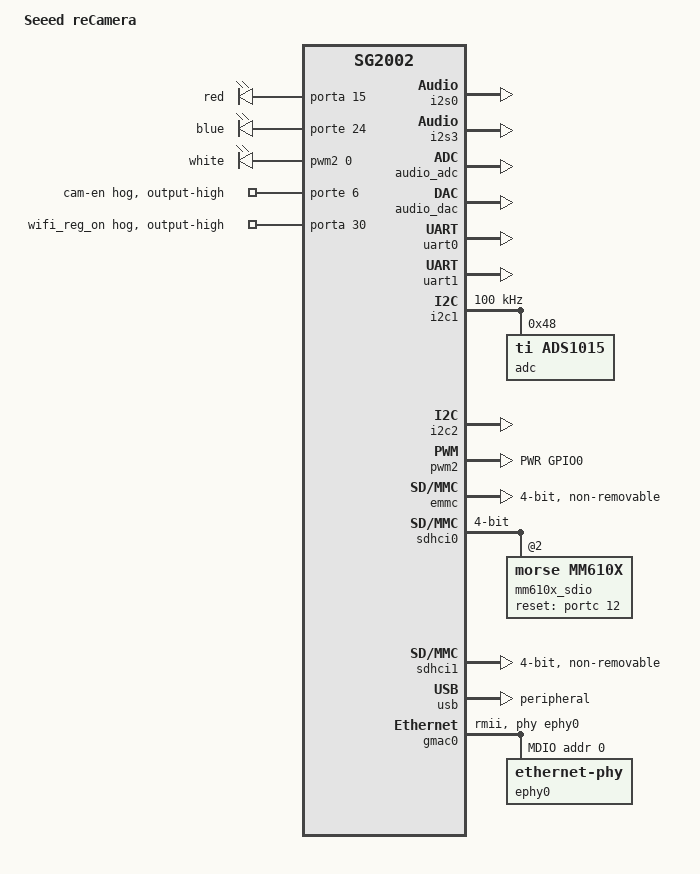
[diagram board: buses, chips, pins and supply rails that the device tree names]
// SPDX-License-Identifier: (GPL-2.0 OR MIT)
/*
 * Seeed reCamera (Sophgo SG2002 / CV181x), project device tree.
 *
 * The hardware is transposed from the vendor board tree for this exact board,
 * vendor/reCamera-OS/external/build/boards/cv181x/sg2002_recamera_emmc/dts_riscv/
 * sg2002_recamera_emmc.dts (Cvitek kernel 5.10), into the labels the mainline
 * 7.2 offers: emmc, sdhci0 (SD slot), sdhci1 (SDIO WiFi).  Only what the
 * mainline can express today is declared here; the rest is driver work, one
 * peripheral per measured boot.
 *
 * The pinmux IS expressible: the mainline header names the pads it knows
 * (PIN_MIPI_TXM2, PIN_IIC0_SCL, ...) and the mux is a plain number, so any named
 * pad can take any of its functions with PINMUX(pad, mux).  What the header does
 * not carry is the FUNCTION number per pad; those come from the vendor pin table
 * (vendor/reCamera-OS/freertos/cvitek/hal/cv181x/config/cv181x_pinlist_swconfig.h)
 * and the pads this board actually wires are listed in the vendor board code
 * (external/build/boards/cv181x/sg2002_recamera_emmc/u-boot/cvi_board_init.c).
 * Both are quoted at each group below.
 *
 * Still missing on this board: GPIO bank 4 (porte, 0x5021000) has no node in the
 * mainline, where the vendor hangs the blue LED (porte 24), the white LED
 * (porte 0) and the camera enable (PWR_GPIO_6).
 */

/dts-v1/;

#include "sg2002.dtsi"
#include "sg2002-recamera-multimedia.dtsi"

/ {
	model = "Seeed reCamera";
	compatible = "seeed,recamera", "sophgo,sg2002";

	/*
	 * Ethernet clocks, copied verbatim from the vendor DT that works
	 * (vendor DT decompiled from the official FIT, vendor-dtb.dts:502-516): two fixed
	 * clocks, 250 MHz for the MAC CSR and 50 MHz for PTP.  In the vendor
	 * system the CCF gates clk_500m_eth0 and clk_axi4_eth0 are declared
	 * CLK_IS_CRITICAL (old_linux_5.10/drivers/clk/cvitek/clk-cv181x.c:588-604)
	 * and the MAC node consumes these fixed clocks, so no driver and no
	 * runtime PM can ever close the MAC clocks.
	 */
	eth_csrclk: eth-csrclk {
		compatible = "fixed-clock";
		#clock-cells = <0>;
		clock-output-names = "eth_csrclk";
		clock-frequency = <250000000>;
	};

	eth_ptpclk: eth-ptpclk {
		compatible = "fixed-clock";
		#clock-cells = <0>;
		clock-output-names = "eth_ptpclk";
		clock-frequency = <50000000>;
	};

	/*
	 * The vendor U-Boot builds the SD cmdline as root=/dev/mmcblk1p2
	 * (SD_BOOTM_COMMAND, cv181x-asic.h:329) and the mmc core numbers the host
	 * from the "mmc" alias (drivers/mmc/core/host.c:525, of_alias_get_id).
	 * Without the aliases the SD was probed first and became mmcblk0, and the
	 * kernel panicked on an absent mmcblk1p2.  These aliases match the vendor
	 * U-Boot: eMMC 0, SD slot 1, wifi-sd 2.
	 */
	aliases {
		serial0 = &uart0;
		/*
		 * The vendor declares serial0..serial4 (vendor-dtb.dts:1076-1080).
		 * The alias is documentation here: the 8250 core takes the ttyS
		 * number from the first free line (8250_of.c:288,
		 * serial8250_register_8250_port), and no 8250 path calls
		 * of_alias_get_id().
		 */
		serial1 = &uart1;
		mmc0 = &emmc;
		mmc1 = &sdhci0;
		mmc2 = &sdhci1;
		/*
		 * The i2c aliases are what the vendor DT declares (i2c0..i2c4 over
		 * 0x4000000..0x4040000), and they are what numbers /dev/i2c-N on his
		 * system: /dev/i2c-1 is 4010000.i2c and /dev/i2c-2 is 4020000.i2c
		 * (measured on the running vendor firmware).  Without them the two
		 * enabled controllers would come up as i2c-0 and i2c-1.
		 */
		i2c1 = &i2c1;
		i2c2 = &i2c2;
	};

	/*
	 * ramoops (A3, 20/10/2026): 1 MiB at the top of the DRAM for the
	 * kernel log of a hang or panic, kept across the watchdog reset and
	 * read after the next boot in /sys/fs/pstore: 512 KiB console log of
	 * the previous boot, 128 KiB pmsg (/dev/pmsg0, userspace), 3 x 128 KiB
	 * oops/panic records. The ION region is placed by size below it.
	 */
	reserved-memory {
		#address-cells = <1>;
		#size-cells = <1>;
		ranges;

		ramoops@8ff00000 {
			compatible = "ramoops";
			reg = <0x8ff00000 0x100000>;
			console-size = <0x80000>;
			pmsg-size = <0x20000>;
			record-size = <0x20000>;
		};
	};

	chosen {
		stdout-path = "serial0:115200n8";
	};

	/*
	 * SoC temperature (F7, patch 0021, vendor cv181x_base.dtsi tempsen).
	 * SG2002 datasheet V1.0, section 2.5.2: recommended
	 * junction temperature up to 85~105 C, destructive at 125 C, and the
	 * in-package DRAM is only guaranteed to 115 C (contents may corrupt
	 * above). The vendor critical trip (130 C) is past both limits.
	 * The kernel only keeps the safety net; the cooling policy lives in
	 * userspace (docs/multimedia.md):
	 *  - hot (85 C, top of the recommended range): event to userspace;
	 *  - critical (110 C, 5 C under the DRAM limit): emergency shutdown.
	 */
	thermal-zones {
		soc-thermal {
			polling-delay-passive = <1000>;
			polling-delay = <1000>;
			thermal-sensors = <&tempsen 0>;

			trips {
				soc_hot: soc-hot {
					temperature = <85000>;
					hysteresis = <5000>;
					type = "hot";
				};

				soc_crit: soc-critical {
					temperature = <110000>;
					hysteresis = <0>;
					type = "critical";
				};
			};
		};
	};

	/*
	 * The three LEDs, as the vendor declares them, transplanted to the
	 * mainline labels.  The vendor DT (extracted from the official FIT,
	 * vendor-dtb.dts:1187-1209) has led0 red = <&porta 15> with the
	 * heartbeat trigger, led1 blue = <&porte 24> with the "mmc0" trigger and
	 * default-state on, and led2 white = <&porte 0> with no trigger and
	 * default-state off.
	 *
	 * The pads are muxed by the vendor U-Boot (cvi_board_init.c:
	 * PINMUX_CONFIG(SPK_EN, XGPIOA_15); PINMUX_CONFIG(GPIO_ZQ, PWR_GPIO_24);
	 * PINMUX_CONFIG(PWR_GPIO0, PWR_GPIO_0)) -- the U-Boot inside our own
	 * fip.bin, which is the same reason CAM_EN works here with no pinctrl
	 * group of ours in the DT.
	 *
	 * NOTE on the blue LED: "mmc0" is not a trigger driver, it is registered
	 * by the mmc core per host (drivers/mmc/core/host.c:661
	 * led_trigger_register_simple(dev_name(&host->class_dev), &host->led))
	 * from the host index.  On the vendor system nothing aliases mmc, so his
	 * mmc0 is whichever host probed first (measured: the SD slot).  Here the
	 * aliases above are required by his own root=/dev/mmcblk1p2, so our mmc0
	 * is the eMMC and our SD is mmc1: the trigger keeps the vendor's
	 * spelling and therefore follows the eMMC on this build.
	 */
	leds {
		compatible = "gpio-leds";

		led-red {
			label = "red";
			gpios = <&porta 15 GPIO_ACTIVE_HIGH>;
			linux,default-trigger = "heartbeat";
			default-state = "on";
		};

		led-blue {
			label = "blue";
			gpios = <&porte 24 GPIO_ACTIVE_HIGH>;
			linux,default-trigger = "mmc0";
			default-state = "on";
		};

	};

	/*
	 * The white LED dims: its pad PWR_GPIO0 has function 4 = PWM_8, i.e.
	 * PWM controller 2 channel 0 (patch 0022, pwm-cv1800), in place of the
	 * vendor's on/off GPIO (porte 0). Brightness 0..255 in
	 * /sys/class/leds/white. 25 kHz (40 us): far above the sensor's line
	 * rate, so the camera's rolling shutter sees a steady light instead of
	 * bright/dark bands (as a 1 kHz PWM would give).
	 */
	pwm-leds {
		compatible = "pwm-leds";

		led-white {
			label = "white";
			pwms = <&pwm2 0 40000 0>;
			max-brightness = <255>;
			default-state = "off";
		};
	};

	/*
	 * Restart and power-off through the RTC block, as the vendor does it
	 * (cvi-reboot.c, "cvitek,restart", reg 0x05025000 + 0x2000, built obj-y
	 * in his tree).  Mainline has no reset handler for this SoC and our
	 * OpenSBI v0.9 has no SRST, so without this node "reboot" hangs at
	 * "Restarting system".  Driver: patch 0009 (CONFIG_POWER_RESET_CVITEK).
	 * The same block is the mainline rtc syscon; the driver maps it without
	 * requesting the region.
	 */
	restart-controller@5025000 {
		compatible = "cvitek,restart";
		reg = <0x05025000 0x2000>;
	};

	/*
	 * Audio: the onboard microphone on the internal ADC and the speaker
	 * output on the internal DAC, wired as the vendor wires them
	 * (vendor-dtb.dts): I2S0 (0x04100000) is RX only and feeds from the
	 * ADC (0x0300A100); I2S3 (0x04130000) is TX only and drives the DAC
	 * (0x0300A000).  DMA requests from the vendor sysdma_remap ch-remap:
	 * CVI_I2S0_RX = 0, CVI_I2S3_TX = 7, routed to the Linux core (cpu 1,
	 * vendor int_mux 0x7fc00).  Mainline drivers: sound/soc/sophgo
	 * cv1800b-tdm, cv1800b-sound-adc, cv1800b-sound-dac; 48 kHz S16_LE,
	 * I2S format, mclk = 256 fs; playback: I2S3 is clock master; capture: the
 * ADC is clock master (fed by I2S3's MCLK) and I2S0 is the slave.
	 * Card order follows the vendor: card 0 = capture (arecord hw:0,0),
	 * card 1 = playback (aplay hw:1,0).
	 */
	i2s0: i2s@4100000 {
		compatible = "sophgo,cv1800b-i2s";
		reg = <0x04100000 0x10000>;
		clocks = <&clk CLK_APB_I2S0>, <&clk CLK_SDMA_AUD0>;
		clock-names = "i2s", "mclk";
		dmas = <&dmamux 0 1>;
		dma-names = "rx";
		#sound-dai-cells = <0>;
	};

	i2s3: i2s@4130000 {
		compatible = "sophgo,cv1800b-i2s";
		reg = <0x04130000 0x10000>;
		clocks = <&clk CLK_APB_I2S3>, <&clk CLK_SDMA_AUD3>;
		clock-names = "i2s", "mclk";
		dmas = <&dmamux 7 1>;
		dma-names = "tx";
		#sound-dai-cells = <0>;
	};

	/*
	 * The ADC has no clock of its own: it runs from the MCLK output of I2S3
	 * (vendor: clk_source = <0x4130000>, I2S3 mclk_out = "true").  Patch
	 * 0011 makes the driver switch that output on (sophgo,mclk-source +
	 * "mclk" = I2S3's CLK_SDMA_AUD3).  Measured before: capture without a
	 * playback stream on I2S3 returns random full-scale data.
	 */
	audio_adc: audio-codec@300a100 {
		compatible = "sophgo,cv1800b-sound-adc";
		reg = <0x0300a100 0x100>;
		clocks = <&clk CLK_SDMA_AUD3>;
		clock-names = "mclk";
		sophgo,mclk-source = <&i2s3>;
		#sound-dai-cells = <0>;
	};

	audio_dac: audio-codec@300a000 {
		compatible = "sophgo,cv1800b-sound-dac";
		reg = <0x0300a000 0x100>;
		#sound-dai-cells = <0>;
	};

	sound-mic {
		compatible = "simple-audio-card";
		simple-audio-card,name = "recamera-mic";
		simple-audio-card,format = "i2s";
		simple-audio-card,mclk-fs = <256>;
		/*
		 * The ADC is the clock master and I2S0 the slave, as the vendor
		 * machine driver sets it (cv181x_cv181xadc.c: SND_SOC_DAIFMT_I2S |
		 * IB_NF | CBM_CFM).  With I2S0 as master the two clock domains run
		 * unsynchronised and capture is random data most of the time.
		 */
		simple-audio-card,bitclock-master = <&mic_codec>;
		simple-audio-card,frame-master = <&mic_codec>;

		/*
		 * system-clock-frequency = the real MCLK (256 x 48 kHz).  Without
		 * it simple-audio-card takes the first clock of the I2S node (the
		 * 300 MHz APB bus clock) as sysclk and the I2S logs
		 * "clk_set_rate failed 300000000" at every boot.
		 */
		simple-audio-card,cpu {
			sound-dai = <&i2s0>;
			system-clock-frequency = <12288000>;
		};

		mic_codec: simple-audio-card,codec {
			sound-dai = <&audio_adc>;
			system-clock-frequency = <12288000>;
		};
	};

	sound-speaker {
		compatible = "simple-audio-card";
		simple-audio-card,name = "recamera-speaker";
		simple-audio-card,format = "i2s";
		simple-audio-card,mclk-fs = <256>;
		simple-audio-card,bitclock-master = <&spk_cpu>;
		simple-audio-card,frame-master = <&spk_cpu>;

		spk_cpu: simple-audio-card,cpu {
			sound-dai = <&i2s3>;
			system-clock-frequency = <12288000>;
		};

		simple-audio-card,codec {
			sound-dai = <&audio_dac>;
			system-clock-frequency = <12288000>;
		};
	};
};

/*
 * System DMA (dw-axi-dmac) behind the dmamux: needed by the audio I2S.
 *
 * The SoC dtsi says "snps,axi-dma-1.01a"; with that the driver hands out any
 * free channel, but the dmamux ties each request line to one fixed channel
 * (the first cell of the dmamux specifier), so the peripheral's requests
 * never reach the channel in use: measured, arecord -> "pcm_read: I/O error"
 * and "apb_regs not initialized".  The driver has the SoC-specific match
 * "sophgo,cv1800b-axi-dma" (AXI_DMA_FLAG_ARG0_AS_CHAN: use the routed
 * channel), which is what this controller needs.
 */
&dmac {
	compatible = "sophgo,cv1800b-axi-dma";
	status = "okay";
};

/*
 * The C906 of this board implements vector 0.7.1 (T-Head "xtheadvector"), not
 * the ratified RVV 1.0.  The mainline cv180x-cpus.dtsi does not declare the
 * extension, so it is declared here; without it the kernel never takes the
 * T-Head path.  vlenb = 128 bits / 8 = 16 bytes.
 */
&cpu0 {
	riscv,isa-extensions = "i", "m", "a", "f", "d", "c", "zicntr", "zicsr",
			       "zifencei", "zihpm", "xtheadvector";
	thead,vlenb = <16>;
};

&osc {
	clock-frequency = <25000000>;
};

&pinctrl {
	uart0_cfg: uart0-cfg {
		uart0-pins {
			pinmux = <PINMUX(PIN_UART0_TX, 0)>,
				 <PINMUX(PIN_UART0_RX, 0)>;
			bias-pull-up;
			drive-strength-microamp = <10800>;
			power-source = <3300>;
		};
	};

	/*
	 * UART1 -- the Bluetooth HCI of the onboard CYW43012 (ttyS1; the vendor
	 * runs brcm_patchram_plus + hciattach there, S41bt-init).  Not the Morse
	 * HaLow module: that one is the optional SDIO card in the SD slot.  The
	 * vendor board code
	 * muxes four pads (cvi_board_init.c: PINMUX_CONFIG(IIC0_SCL, UART1_TX);
	 * PINMUX_CONFIG(IIC0_SDA, UART1_RX); PINMUX_CONFIG(JTAG_CPU_TMS, UART1_RTS);
	 * PINMUX_CONFIG(JTAG_CPU_TCK, UART1_CTS)) and the pin table gives the
	 * function numbers: IIC0_SCL__UART1_TX 1, IIC0_SDA__UART1_RX 1,
	 * JTAG_CPU_TMS__UART1_RTS 4, JTAG_CPU_TCK__UART1_CTS 4
	 * (cv181x_pinlist_swconfig.h:115-146).
	 *
	 * All four pads sit in VDDIO_SD0_EMMC with IO_TYPE_1V8_OR_3V3 -- the same
	 * domain as the UART0 pads (pinctrl-sg2002.c:302-349) -- so power-source
	 * stays 3300.  A second, different value for a domain the driver has
	 * already seen makes the whole pin map fail (cv1800_set_power_cfg), which
	 * is why this group must not drift from uart0_cfg.
	 */
	uart1_cfg: uart1-cfg {
		uart1-pins {
			pinmux = <PINMUX(PIN_IIC0_SCL, 1)>,
				 <PINMUX(PIN_IIC0_SDA, 1)>,
				 <PINMUX(PIN_JTAG_CPU_TMS, 4)>,
				 <PINMUX(PIN_JTAG_CPU_TCK, 4)>;
			/*
			 * The pads come out of reset with the internal pull-down on
			 * (measured: JTAG_CPU_TMS/TCK read 0x4c with pull-up only).
			 * Patch 0014 makes the bias exclusive in the cv18xx driver, so
			 * bias-pull-up alone now also clears the pull-down (it used to
			 * need a second bias-pull-down = <0>, which pinconf-generic
			 * rejects with "cannot have multiple bias configurations").
			 */
			bias-pull-up;
			drive-strength-microamp = <10800>;
			power-source = <3300>;
		};
	};

	sdhci0_cfg: sdhci0-cfg {
		sdhci0-clk-pins {
			pinmux = <PINMUX(PIN_SD0_CLK, 0)>;
			bias-pull-up;
			drive-strength-microamp = <16100>;
			power-source = <3300>;
		};

		sdhci0-cmd-pins {
			pinmux = <PINMUX(PIN_SD0_CMD, 0)>;
			bias-pull-up;
			drive-strength-microamp = <10800>;
			power-source = <3300>;
		};

		sdhci0-data-pins {
			pinmux = <PINMUX(PIN_SD0_D0, 0)>,
				 <PINMUX(PIN_SD0_D1, 0)>,
				 <PINMUX(PIN_SD0_D2, 0)>,
				 <PINMUX(PIN_SD0_D3, 0)>;
			bias-pull-up;
			drive-strength-microamp = <10800>;
			power-source = <3300>;
		};

		sdhci0-cd-pins {
			pinmux = <PINMUX(PIN_SD0_CD, 0)>;
			bias-pull-up;
			drive-strength-microamp = <10800>;
			power-source = <3300>;
		};
	};

	/*
	 * i2c1 carries the ADS1015.  The vendor board code wires it on two MIPI
	 * pads: PINMUX_CONFIG(PAD_MIPI_TXM2, IIC1_SDA) and
	 * PINMUX_CONFIG(PAD_MIPI_TXP2, IIC1_SCL) (cvi_board_init.c), and the pin
	 * table gives the function numbers: PAD_MIPI_TXM2__IIC1_SDA 4,
	 * PAD_MIPI_TXP2__IIC1_SCL 4.  Both pads sit in VDD18A_MIPI and are 1V8
	 * only (pinctrl-sg2002.c pin data), so power-source is 1800 and the
	 * drive strength is the first step of the 1V8 table
	 * (sg2002_1v8_oc_map: 12800).
	 */
	i2c1_cfg: i2c1-cfg {
		i2c1-pins {
			pinmux = <PINMUX(PIN_MIPI_TXM2, 4)>,
				 <PINMUX(PIN_MIPI_TXP2, 4)>;
			/*
			 * The pads come out of reset with their internal pull-down
			 * enabled; with both pulls (60k up against 62k down) a released
			 * line parks near half rail.  Measured: pad conf 0x0c (both)
			 * before, 0x04 with the pull-down off.  Patch 0014 makes
			 * bias-pull-up clear the pull-down by itself.
			 */
			bias-pull-up;
			drive-strength-microamp = <12800>;
			power-source = <1800>;
		};
	};

	/*
	 * White LED: PWR_GPIO0 -> function 4, PWM_8 (pinctrl-sg2002.c: mux at
	 * 0x0a4, 1V8-only pad in the RTC domain). The vendor U-Boot leaves it
	 * as GPIO (PWR_GPIO_0); this group takes it over at pwm2's probe.
	 */
	pwm8_cfg: pwm8-cfg {
		pwm8-pins {
			pinmux = <PINMUX(PIN_PWR_GPIO0, 4)>;
			bias-disable;
			drive-strength-microamp = <12800>;
			power-source = <1800>;
		};
	};
};

&uart0 {
	pinctrl-0 = <&uart0_cfg>;
	pinctrl-names = "default";
	status = "okay";
};

/*
 * UART1, the Bluetooth HCI of the CYW43012 (BD address = WiFi MAC - 1, measured
 * hci0 60:FF:9E:xx:xx:xx on the factory system).  Their DT declares it
 * with clock-frequency = <25000000> -- the oscillator -- and no clocks property
 * at all (vendor-dtb.dts:362-371):
 *
 *	serial@04150000 {
 *		compatible = "snps,dw-apb-uart";
 *		reg = <0 0x4150000 0 0x1000>;
 *		clock-frequency = <0x17d7840>;	// 25 MHz
 *		reg-shift = <2>;  reg-io-width = <4>;  status = "okay";
 *		interrupts = <0x2d 4>;		// 0x2d = 45 = SOC_PERIPHERAL_IRQ(29)
 *	};
 *
 * The mainline node keeps the register layout and the same interrupt number but
 * takes the baud clock from the clock framework instead (clocks = <&clk CLK_UART1>,
 * <&clk CLK_APB_UART1>, names "baudclk" and "apb_pclk", plus resets = <&rst RST_UART1>),
 * so no clock-frequency is needed here.
 */
&uart1 {
	pinctrl-0 = <&uart1_cfg>;
	pinctrl-names = "default";
	status = "okay";
};

/*
 * The ADS1015 on i2c1, exactly as the vendor declares it: reg 0x48 with channel
 * 4 enabled (AIN0 against GND), gain 1 and datarate 2.  Binding:
 * Documentation/devicetree/bindings/iio/adc/ti,ads1015.yaml; driver TI_ADS1015
 * (drivers/iio/adc/ti-ads1015.c), which the seed now builds in instead of as a
 * module, so the sensor is there without modprobe.
 */
&i2c1 {
	/*
	 * FULL A/B test against the vendor DT, now extracted from the official FIT
	 * itself (emmc-usbdl/boot.emmc -> images/fdt-sg2002_recamera_emmc). There
	 * the i2c1 node is:
	 *
	 *	reg = <0x04010000 0x1000>;      (4 KiB -- the whole designware block)
	 *	clocks = <&clk 114>;            (ONE clock only: CV180X_CLK_I2C)
	 *	clock-frequency = <400000>;
	 *	reset-names = "i2c1";
	 *
	 * The mainline cv180x.dtsi declares a reg of 0x10000 (64 KiB) and TWO clocks
	 * (CLK_I2C + CLK_APB_I2C1, named "ref"/"pclk").  Neither had been tried in
	 * the previous A/B, which only changed clock-frequency and pinctrl-0, both
	 * still dropped.  Here the node goes whole, as the vendor's (the single
	 * clock also removes "pclk", which the driver takes as optional, and with
	 * it clk_apb_i2c1 is never enabled).
	 */
	reg = <0x04010000 0x1000>;
	clocks = <&clk CLK_I2C>;
	/delete-property/ clock-names;
	clock-frequency = <100000>;
	status = "okay";

	adc@48 {
		compatible = "ti,ads1015";
		reg = <0x48>;
		#address-cells = <1>;
		#size-cells = <0>;
		#io-channel-cells = <1>;

		channel@4 {
			reg = <4>;
			ti,gain = <1>;
			ti,datarate = <2>;
		};
	};
};

/*
 * i2c2 is the camera bus, and it is the one bus on this board that has a
 * device: on the running vendor firmware `i2cdetect -y 2` answers at 0x36 and
 * /proc/interrupts shows five interrupts on 4020000.i2c, while the same scan
 * on his i2c1 finds nothing at all.  His board DT enables it with nothing but
 * `status = "okay"` -- no pinctrl group -- because his U-Boot wires the pads
 * for him (cvi_board_init.c: PINMUX_CONFIG(PWR_GPIO1, IIC2_SCL) +
 * PINMUX_CONFIG(PWR_GPIO2, IIC2_SDA), function 6 on pads 48/49, both in
 * VDDIO_RTC, 1V8 only), and that very U-Boot is the one inside our fip.bin.
 * The pads are muxed before Linux starts, exactly as on his system.
 */
&i2c2 {
	status = "okay";
};

/*
 * The PWR bank (porte): the camera enable and the blue and white LEDs live
 * here.  The mainline declares gpio0..gpio3 at 0x3020000..0x3023000 but has no
 * node at all for 0x5021000; the vendor DT has one and it uses the plain
 * DesignWare bindings (snps,dw-apb-gpio / snps,dw-apb-gpio-port) -- the driver
 * the mainline already builds in (CONFIG_GPIO_DWAPB=y, drivers/gpio/gpio-dwapb.c).
 * Only the node is missing; there is no driver to port.
 *
 * CAM_EN is line 6 of this bank (PWR_GPIO_6, "gpio358" in vendor terms; pad
 * PWR_WAKEUP0 muxed to it by the same vendor U-Boot).  On his running system
 * it measures direction=out, value=1 -- and it is his userspace that drives it,
 * nothing in his kernel and nothing in the U-Boot.  The hog below does the same
 * thing from the kernel, so the camera rail is up before any driver probes.
 *
 * The node has to sit INSIDE /soc: that is where the mainline declares
 * gpio0..gpio3, and it is /soc that carries "interrupt-parent = <&plic>"
 * (cv180x.dtsi:23).  On the root node the port's "interrupts" has no parent,
 * fwnode_irq_get() comes back empty, and the driver prints
 *
 *	gpio-dwapb 5021000.gpio: no IRQ for port0
 *
 * (measured) -- the bank works as plain I/O but none of its lines can raise an
 * interrupt.  The vendor put the node at the root and wrote interrupt-parent
 * explicitly; inside /soc we inherit it.
 */
&{/soc} {
	/*
	 * SoC watchdog (vendor cv181x_base.dtsi cv-wd@0x3010000, DesignWare).
	 * "sophgo,cv1800-wdt" (patch 0023) sets bit 8 of TOP + 0x8 at probe:
	 * without it a timeout does not reset the chip (no boot stage sets it).
	 * Fed by /etc/init.d/S02watchdog; a hung system reboots by itself.
	 */
	watchdog@3010000 {
		compatible = "sophgo,cv1800-wdt", "snps,dw-wdt";
		reg = <0x3010000 0x1000>;
		clocks = <&clk CLK_APB_WDT>;
		resets = <&rst RST_WDT>;
		sophgo,top-syscon = <&syscon>;
	};

	/*
	 * PWM controller 2 (channels PWM_8..11), as the vendor cv181x_base.dtsi
	 * pwm@3062000. Mainline has no PWM nodes for this SoC.
	 */
	pwm2: pwm@3062000 {
		compatible = "sophgo,cv1800-pwm";
		reg = <0x3062000 0x1000>;
		clocks = <&clk CLK_PWM>;
		#pwm-cells = <3>;
		pinctrl-names = "default";
		pinctrl-0 = <&pwm8_cfg>;
	};

	gpio@5021000 {
		compatible = "snps,dw-apb-gpio";
		reg = <0x5021000 0x1000>;
		#address-cells = <1>;
		#size-cells = <0>;

		porte: gpio-controller@4 {
			compatible = "snps,dw-apb-gpio-port";
			gpio-controller;
			#gpio-cells = <2>;
			ngpios = <32>;
			reg = <0>;
			interrupt-controller;
			#interrupt-cells = <2>;
			interrupts = <SOC_PERIPHERAL_IRQ(54) IRQ_TYPE_LEVEL_HIGH>;

			cam-en-hog {
				gpio-hog;
				gpios = <6 GPIO_ACTIVE_HIGH>;
				output-high;
				line-name = "cam-en";
			};
		};
	};
};

/*
 * The eMMC pads are left at their reset defaults on purpose: the vendor board
 * code does not touch them either (no EMMC_* entry in its pin table), which is
 * why the upstream cv1812h-huashan-pi board also enables &emmc with no pinctrl
 * group.  The vendor caps this board at 50 MHz, not the 200 MHz / HS200 of the
 * huashan-pi.
 */
&emmc {
	status = "okay";
	bus-width = <4>;
	max-frequency = <50000000>;
	non-removable;
	no-sd;
	no-sdio;
};

/*
 * The SD slot: this is what the card boots from (the rootfs is its p2).  The
 * pin group is the upstream sg2002-licheerv-nano-b.dts one.
 */
/*
 * The SD slot also takes the optional HaLow module (Morse Micro MM6108,
 * "fgh100m" add-on board) as an SDIO card, as the vendor board DT does
 * (sg2002_recamera_emmc.dts: &sd drops no-sdio and adds mm610x-sdio with
 * reset-gpios = <&portc 12>).  The module goes in place of the SD card, so it
 * is used with the system on the eMMC; with a card in the slot the child node
 * is inert.  Driver: package morse-driver (morse.ko, dot11ah.ko).
 */
&sdhci0 {
	pinctrl-0 = <&sdhci0_cfg>;
	pinctrl-names = "default";
	status = "okay";
	bus-width = <4>;
	max-frequency = <50000000>;
	no-1-8-v;
	no-mmc;
	disable-wp;
	#address-cells = <1>;
	#size-cells = <0>;

	mm610x_sdio: mm610x-sdio@2 {
		compatible = "morse,mm610x";
		reg = <2>;
		reset-gpios = <&portc 12 GPIO_ACTIVE_HIGH>;
	};
};

/*
 * The SDIO WiFi (Cypress/Infineon CYW43012, brcmfmac), wired as the vendor
 * wires it: wifisd (4320000.mmc).
 *
 * max-frequency is NOT the vendor's 50000000.  The vendor driver
 * (sdhci-cv181x) never reaches it: its bus runs at 46875000 (measured,
 * /sys/kernel/debug/mmc2/ios on the factory 5.10).  The mainline dwcmshc
 * reaches 50 MHz exactly, and at 50 MHz the SDIO lines next to the radio
 * jam 2.4 GHz channels 5-7: the AP on channel 6 drops out of scans and every
 * join on it fails with SET_SSID status 1 (ASSOC-REJECT 16), while channels
 * 1 and 36 associate.  Measured on 2026-10-18 by changing only this bus:
 * 50 MHz -> 5/5 rejected; 37.5 MHz -> COMPLETED, DHCP, 0% ping loss
 * (eMMC and SD at 50 MHz made no difference).  37.5 MHz is what this
 * divider gives for any request below 50 MHz.
 */
&sdhci1 {
	status = "okay";
	bus-width = <4>;
	max-frequency = <37500000>;
	cap-sdio-irq;
	no-mmc;
	no-sd;
	non-removable;
	disable-wp;
};

/*
 * USB-C as a device, like the vendor: his usb-net.sh switches the port to
 * device (uhubon.sh device -> /proc/cviusb/otg_role) and exposes an NCM
 * gadget as usb0 = 192.168.42.1.  Here the role is fixed by dr_mode and the
 * gadget is built by /etc/init.d/S45usbnet over configfs.
 */
&usb {
	dr_mode = "peripheral";
	status = "okay";
};

/* The mdio-mux@3009800 (label `mdio` in cv180x.dtsi:60) goes: its parent bus is
 * gmac0_mdio, which the mirror of the vendor node removes (just below), and so
 * the register 0x3009800 -- the same one the glue writes in the ePHY bring-up --
 * has a single owner. */
/delete-node/ &mdio;

/* Ethernet: a mirror of the node that works in the vendor kernel (the DT of the
 * official FIT, lines 541-562). That node has phy-mode "rmii", NO mdio subnode,
 * NO phy-handle and NO reset. Without an mdio subnode and a phy-handle stmmac
 * registers the MAC's own bus and finds the PHY by scanning (stmmac_mdio.c:
 * phy_find_first, which also fills plat->phy_addr) -- that is its mechanism,
 * not the mux. The PHY driver (CVITEK CV182XA, id 0x00435649) comes from
 * patch 0001 in external/patches. */
&gmac0 {
	/* 7.2 does NOT find the MAC class from the hardware version, as the
	 * vendor 5.10 did: stmmac_platform.c:501-527 only sets
	 * core_type = DWMAC_CORE_GMAC when the node carries one of these
	 * mainline compatibles. Without it core_type stays 0 (MAC100), the
	 * driver takes the dwmac100 ops, the DMA cap does not answer and the
	 * MDIO bus does not register (error -EIO). So the node keeps the second
	 * compatible, unlike the vendor node, which declares only its own. */
	compatible = "cvitek,ethernet", "snps,dwmac-3.70a";
	clocks = <&eth_csrclk>, <&eth_ptpclk>;
	ephy_base_reg = <0x3009000>;
	ephy_top_reg = <0x3009800>;
	/delete-property/ resets;
	/delete-property/ reset-names;
	phy-mode = "rmii";
	/*
	 * The vendor node has snps,multicast-filter-bins = <0>; mainline warns
	 * "Hash table entries set to unexpected value 0" and falls back to 64.
	 * Declare the 64 it ends up using.
	 */
	snps,multicast-filter-bins = <64>;
	phy-handle = <&ephy0>;
	status = "okay";

	/*
	 * The SoC dtsi's mdio carries the mdio-mux at 0x3009800, which the glue
	 * also writes; it goes.  Without any mdio subnode stmmac found the PHY
	 * by scanning ("Deprecated MDIO bus assumption used").  A plain MDIO bus
	 * with the internal PHY at address 0 (measured: stmmac-0:00, CVITEK
	 * CV182XA, id 0x00435649) is the same PHY, declared.
	 */
	/delete-node/ mdio;

	mdio {
		compatible = "snps,dwmac-mdio";
		#address-cells = <1>;
		#size-cells = <0>;

		ephy0: ethernet-phy@0 {
			reg = <0>;
		};
	};
};

/* AXI tuning of the MAC, the vendor's exact array (vendor-dtb.dts:518-523):
 * blen <4 8 16 0 0 0 0>, rd_osr_lmt 2, wr_osr_lmt 1.  The mainline dtsi has
 * blen <16 8 4 0 0 0 0>, which is not what the working system runs. */
&gmac0_stmmac_axi_setup {
	snps,blen = <4 8 16 0 0 0 0>;
};

/*
 * WIFI_REG_ON / BT_REG_ON -- GPIOA 30 (gpio510), the pad the WiFi module
 * needs powered on.  Two mirrors, both from the vendor system that works:
 *
 *  - the vendor U-Boot muxes the pad to GPIO before the kernel starts
 *    (cvi_board_init.c:4, "PINMUX_CONFIG(AUX0, XGPIOA_30); // BT_REG_ON &
 *    WIFI_REG_ON -- gpio510").  Our image boots that same U-Boot (the fip.bin
 *    is byte-identical to the vendor's), so the pad function already matches;
 *
 *  - the vendor board DT declares the level as active high
 *    (sg2002_recamera_emmc.dts:157-162: wifi_pin { compatible =
 *    "cvitek,wifi-pin"; poweron-gpio = <&porta 30 GPIO_ACTIVE_HIGH>; }).
 *    In the vendor kernel the consumer of that node is the out-of-tree
 *    bcmdhd driver (osdrv/extdrv/wireless/broadcom/bcmdhd/dhd_gpio.c:296,
 *    gpio_wl_reg_on = cvi_get_wifi_pwr_on_gpio()), not brcmfmac, so on that
 *    system nothing in the brcmfmac path holds the pin as an output either.
 *
 * Our kernel has no consumer for that node, so the power-on level is held
 * here with a hog instead: same state the working system runs in, on every
 * boot, whatever probes first.
 */
&porta {
	wifi_reg_on: wifi-reg-on {
		gpio-hog;
		gpios = <30 GPIO_ACTIVE_HIGH>;
		output-high;
		line-name = "wifi_reg_on";
	};
};
